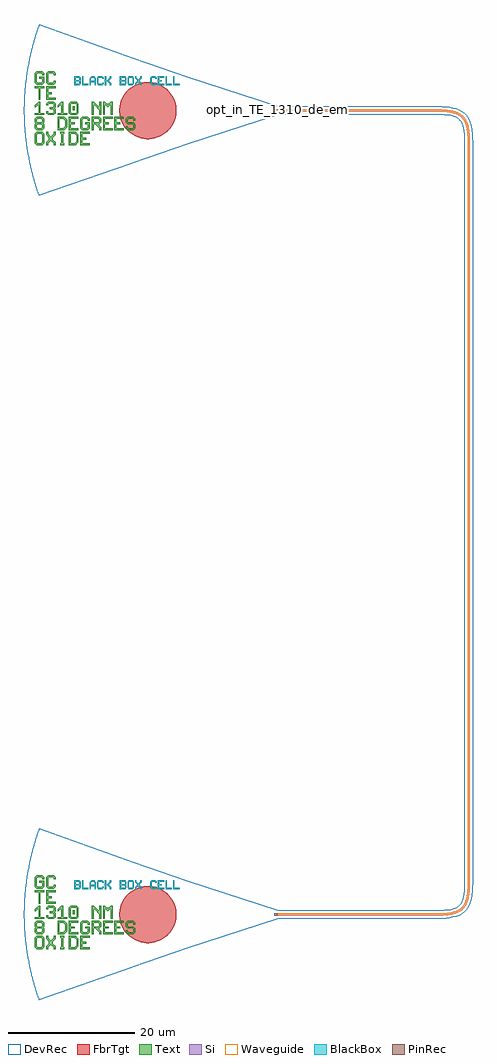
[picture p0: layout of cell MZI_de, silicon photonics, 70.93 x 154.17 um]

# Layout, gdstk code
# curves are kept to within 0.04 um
import gdstk
lib = gdstk.Library(unit=1e-6, precision=1e-09)
def R(c, l, rs):  # rectangles x0, y0, x1, y1
    for r in rs: c.add(gdstk.rectangle(r[:2], r[2:], *l))
def P(c, l, *ps):  # polygons
    for p in ps: c.add(gdstk.Polygon(p, *l))
Si = (1, 0)
PinRec = (1, 10)
Waveguide = (1, 99)
Text = (10, 0)
DevRec = (68, 0)
FbrTgt = (81, 0)
BlackBox = (998, 0)

text_1 = lib.new_cell('TEXT$1')
P(text_1, BlackBox, [(0,0),(0,1.4),(0.8,1.4),(1,1.2),(0.2,1.2),(0.2,0.8),(0.7,0.8),(0.8,0.9),(0.8,1.1),(0.7,1.2),(1,1.2),(1,0.8),(0.9,0.7),(1,0.6),(0.2,0.6),(0.2,0.2),(0.7,0.2),(0.8,0.3),(0.8,0.5),(0.7,0.6),(1,0.6),(1,0.2),(0.8,0)],
  [(1.2,0),(1.2,1.4),(1.4,1.4),(1.4,0.2),(2.2,0.2),(2.2,0)],
  [(2.4,0),(2.4,1.1),(2.7,1.4),(3.1,1.4),(3.3,1.2),(2.8,1.2),(2.6,1),(2.6,0.7),(3.2,0.7),(3.2,1),(3,1.2),(3.3,1.2),(3.4,1.1),(3.4,0),(3.2,0),(3.2,0.5),(2.6,0.5),(2.6,0)],
  [(3.8,0),(3.6,0.2),(3.6,1.2),(3.8,1.4),(4.4,1.4),(4.6,1.2),(4.6,1),(4.4,1),(4.4,1.1),(4.3,1.2),(3.9,1.2),(3.8,1.1),(3.8,0.3),(3.9,0.2),(4.3,0.2),(4.4,0.3),(4.4,0.4),(4.6,0.4),(4.6,0.2),(4.4,0)],
  [(4.8,0),(4.8,1.4),(5,1.4),(5,0.8),(5.2,0.8),(5.6,1.2),(5.6,1.4),(5.8,1.4),(5.8,1.1),(5.4,0.7),(5.8,0.3),(5.8,0),(5.6,0),(5.6,0.2),(5.2,0.6),(5,0.6),(5,0)],
  [(7.2,0),(7.2,1.4),(8,1.4),(8.2,1.2),(7.4,1.2),(7.4,0.8),(7.9,0.8),(8,0.9),(8,1.1),(7.9,1.2),(8.2,1.2),(8.2,0.8),(8.1,0.7),(8.2,0.6),(7.4,0.6),(7.4,0.2),(7.9,0.2),(8,0.3),(8,0.5),(7.9,0.6),(8.2,0.6),(8.2,0.2),(8,0)],
  [(8.6,0),(8.4,0.2),(8.4,1.2),(8.6,1.4),(9.2,1.4),(9.4,1.2),(9.4,0.7),(9.2,0.7),(9.2,1.1),(9.1,1.2),(8.7,1.2),(8.6,1.1),(8.6,0.3),(8.7,0.2),(9.1,0.2),(9.2,0.3),(9.2,0.7),(9.4,0.7),(9.4,0.2),(9.2,0)],
  [(9.6,0),(9.6,0.3),(9.9,0.6),(9.9,0.8),(9.6,1.1),(9.6,1.4),(9.8,1.4),(9.8,1.2),(10.1,0.9),(10.4,1.2),(10.4,1.4),(10.6,1.4),(10.6,1.1),(10.3,0.8),(10.3,0.6),(10.6,0.3),(10.6,0),(10.4,0),(10.4,0.2),(10.1,0.5),(9.8,0.2),(9.8,0)],
  [(12.2,0),(12,0.2),(12,1.2),(12.2,1.4),(12.8,1.4),(13,1.2),(13,1),(12.8,1),(12.8,1.1),(12.7,1.2),(12.3,1.2),(12.2,1.1),(12.2,0.3),(12.3,0.2),(12.7,0.2),(12.8,0.3),(12.8,0.4),(13,0.4),(13,0.2),(12.8,0)],
  [(13.2,0),(13.2,1.4),(14.2,1.4),(14.2,1.2),(13.4,1.2),(13.4,0.8),(13.8,0.8),(13.8,0.6),(13.4,0.6),(13.4,0.2),(14.2,0.2),(14.2,0)],
  [(14.4,0),(14.4,1.4),(14.6,1.4),(14.6,0.2),(15.4,0.2),(15.4,0)],
  [(15.6,0),(15.6,1.4),(15.8,1.4),(15.8,0.2),(16.6,0.2),(16.6,0)])

gc_te_1310_8degoxide_bb = lib.new_cell('GC_TE_1310_8degOxide_BB')
R(gc_te_1310_8degoxide_bb, Si, [(-0.4,-0.175,0,0.175)])
R(gc_te_1310_8degoxide_bb, Text, [(-32.27,0.06,-31.97,0.66)])
P(gc_te_1310_8degoxide_bb, Text, [(-37.67,1.71),(-37.67,3.51),(-38.27,3.51),(-38.27,3.81),(-36.77,3.81),(-36.77,3.51),(-37.37,3.51),(-37.37,1.71)],
  [(-37.97,-5.49),(-38.27,-5.19),(-38.27,-3.69),(-37.97,-3.39),(-37.07,-3.39),(-36.77,-3.69),(-36.77,-4.44),(-37.07,-4.44),(-37.07,-3.84),(-37.22,-3.69),(-37.82,-3.69),(-37.97,-3.84),(-37.97,-5.04),(-37.82,-5.19),(-37.22,-5.19),(-37.07,-5.04),(-37.07,-4.44),(-36.77,-4.44),(-36.77,-5.19),(-37.07,-5.49)],
  [(-31.07,-5.49),(-31.07,-3.39),(-29.57,-3.39),(-29.57,-3.69),(-30.77,-3.69),(-30.77,-4.29),(-30.17,-4.29),(-30.17,-4.59),(-30.77,-4.59),(-30.77,-5.19),(-29.57,-5.19),(-29.57,-5.49)],
  [(-32.87,-3.09),(-32.87,-0.99),(-31.37,-0.99),(-31.37,-1.29),(-32.57,-1.29),(-32.57,-1.89),(-31.97,-1.89),(-31.97,-2.19),(-32.57,-2.19),(-32.57,-2.79),(-31.37,-2.79),(-31.37,-3.09)],
  [(-27.47,-3.09),(-27.47,-0.99),(-25.97,-0.99),(-25.97,-1.29),(-27.17,-1.29),(-27.17,-1.89),(-26.57,-1.89),(-26.57,-2.19),(-27.17,-2.19),(-27.17,-2.79),(-25.97,-2.79),(-25.97,-3.09)],
  [(-25.67,-3.09),(-25.67,-0.99),(-24.17,-0.99),(-24.17,-1.29),(-25.37,-1.29),(-25.37,-1.89),(-24.77,-1.89),(-24.77,-2.19),(-25.37,-2.19),(-25.37,-2.79),(-24.17,-2.79),(-24.17,-3.09)],
  [(-36.47,1.71),(-36.47,3.81),(-34.97,3.81),(-34.97,3.51),(-36.17,3.51),(-36.17,2.91),(-35.57,2.91),(-35.57,2.61),(-36.17,2.61),(-36.17,2.01),(-34.97,2.01),(-34.97,1.71)],
  [(-27.47,-0.69),(-27.47,1.41),(-27.17,1.41),(-26.87,1.11),(-26.57,1.11),(-26.27,1.41),(-25.97,1.41),(-25.97,-0.69),(-26.27,-0.69),(-26.27,0.81),(-26.42,0.81),(-26.72,0.51),(-27.02,0.81),(-27.17,0.81),(-27.17,-0.69)],
  [(-29.27,-0.69),(-29.27,1.41),(-28.97,1.41),(-28.22,0.66),(-28.07,0.66),(-28.07,1.41),(-27.77,1.41),(-27.77,-0.69),(-28.07,-0.69),(-28.07,0.06),(-28.82,0.81),(-28.97,0.81),(-28.97,-0.69)],
  [(-34.22,-5.49),(-34.22,-5.19),(-34.07,-5.19),(-34.07,-3.69),(-34.22,-3.69),(-34.22,-3.39),(-33.62,-3.39),(-33.62,-3.69),(-33.77,-3.69),(-33.77,-5.19),(-33.62,-5.19),(-33.62,-5.49)],
  [(-36.17,-0.69),(-36.47,-0.39),(-36.47,-0.09),(-36.17,-0.09),(-36.17,-0.24),(-36.02,-0.39),(-35.42,-0.39),(-35.27,-0.24),(-35.27,0.06),(-35.42,0.21),(-35.87,0.21),(-35.87,0.51),(-35.42,0.51),(-35.27,0.66),(-35.27,0.96),(-35.42,1.11),(-36.02,1.11),(-36.17,0.96),(-36.17,0.81),(-36.47,0.81),(-36.47,1.11),(-36.17,1.41),(-35.27,1.41),(-34.97,1.11),(-34.97,0.51),(-35.12,0.36),(-34.97,0.21),(-34.97,-0.39),(-35.27,-0.69)],
  [(-29.27,-3.09),(-29.27,-0.99),(-28.07,-0.99),(-27.77,-1.29),(-28.97,-1.29),(-28.97,-1.89),(-28.22,-1.89),(-28.07,-1.74),(-28.07,-1.44),(-28.22,-1.29),(-27.77,-1.29),(-27.77,-1.89),(-28.07,-2.19),(-28.07,-2.34),(-27.77,-2.64),(-27.77,-3.09),(-28.07,-3.09),(-28.07,-2.79),(-28.67,-2.19),(-28.97,-2.19),(-28.97,-3.09)],
  [(-30.77,-3.09),(-31.07,-2.79),(-31.07,-1.29),(-30.77,-0.99),(-29.87,-0.99),(-29.57,-1.29),(-29.57,-1.59),(-29.87,-1.59),(-29.87,-1.44),(-30.02,-1.29),(-30.62,-1.29),(-30.77,-1.44),(-30.77,-2.64),(-30.62,-2.79),(-30.02,-2.79),(-29.87,-2.64),(-29.87,-2.19),(-30.32,-2.19),(-30.32,-1.89),(-29.57,-1.89),(-29.57,-2.79),(-29.87,-3.09)],
  [(-37.97,4.11),(-38.27,4.41),(-38.27,5.91),(-37.97,6.21),(-37.07,6.21),(-36.77,5.91),(-36.77,5.61),(-37.07,5.61),(-37.07,5.76),(-37.22,5.91),(-37.82,5.91),(-37.97,5.76),(-37.97,4.56),(-37.82,4.41),(-37.22,4.41),(-37.07,4.56),(-37.07,5.01),(-37.52,5.01),(-37.52,5.31),(-36.77,5.31),(-36.77,4.41),(-37.07,4.11)],
  [(-32.57,-0.69),(-32.87,-0.39),(-32.87,1.11),(-32.57,1.41),(-31.67,1.41),(-31.37,1.11),(-32.42,1.11),(-32.57,0.96),(-32.57,-0.24),(-32.42,-0.39),(-31.82,-0.39),(-31.67,-0.24),(-31.67,0.96),(-31.82,1.11),(-31.37,1.11),(-31.37,-0.39),(-31.67,-0.69)],
  [(-32.87,-5.49),(-32.87,-3.39),(-31.82,-3.39),(-31.52,-3.69),(-32.57,-3.69),(-32.57,-5.19),(-31.97,-5.19),(-31.67,-4.89),(-31.67,-3.99),(-31.97,-3.69),(-31.52,-3.69),(-31.37,-3.84),(-31.37,-5.04),(-31.82,-5.49)],
  [(-34.67,-3.09),(-34.67,-0.99),(-33.62,-0.99),(-33.32,-1.29),(-34.37,-1.29),(-34.37,-2.79),(-33.77,-2.79),(-33.47,-2.49),(-33.47,-1.59),(-33.77,-1.29),(-33.32,-1.29),(-33.17,-1.44),(-33.17,-2.64),(-33.62,-3.09)],
  [(-23.57,-3.09),(-23.87,-2.79),(-23.87,-2.49),(-23.57,-2.49),(-23.57,-2.64),(-23.42,-2.79),(-22.82,-2.79),(-22.67,-2.64),(-22.67,-2.34),(-22.82,-2.19),(-23.57,-2.19),(-23.87,-1.89),(-23.87,-1.29),(-23.57,-0.99),(-22.67,-0.99),(-22.37,-1.29),(-22.37,-1.59),(-22.67,-1.59),(-22.67,-1.44),(-22.82,-1.29),(-23.42,-1.29),(-23.57,-1.44),(-23.57,-1.74),(-23.42,-1.89),(-22.67,-1.89),(-22.37,-2.19),(-22.37,-2.79),(-22.67,-3.09)],
  [(-37.97,-3.09),(-38.27,-2.79),(-38.27,-2.19),(-38.12,-2.04),(-38.27,-1.89),(-38.27,-1.29),(-37.97,-0.99),(-37.07,-0.99),(-36.77,-1.29),(-37.82,-1.29),(-37.97,-1.44),(-37.97,-1.74),(-37.82,-1.89),(-37.22,-1.89),(-37.07,-1.74),(-37.07,-1.44),(-37.22,-1.29),(-36.77,-1.29),(-36.77,-1.89),(-36.92,-2.04),(-36.77,-2.19),(-37.82,-2.19),(-37.97,-2.34),(-37.97,-2.64),(-37.82,-2.79),(-37.22,-2.79),(-37.07,-2.64),(-37.07,-2.34),(-37.22,-2.19),(-36.77,-2.19),(-36.77,-2.79),(-37.07,-3.09)],
  [(-38.27,-0.69),(-38.27,-0.39),(-37.67,-0.39),(-37.67,0.81),(-37.82,0.81),(-38.12,0.51),(-38.27,0.51),(-38.27,0.81),(-37.67,1.41),(-37.37,1.41),(-37.37,-0.39),(-36.77,-0.39),(-36.77,-0.69)],
  [(-34.67,-0.69),(-34.67,-0.39),(-34.07,-0.39),(-34.07,0.81),(-34.22,0.81),(-34.52,0.51),(-34.67,0.51),(-34.67,0.81),(-34.07,1.41),(-33.77,1.41),(-33.77,-0.39),(-33.17,-0.39),(-33.17,-0.69)],
  [(-36.47,-5.49),(-36.47,-5.04),(-36.02,-4.59),(-36.02,-4.29),(-36.47,-3.84),(-36.47,-3.39),(-36.17,-3.39),(-36.17,-3.69),(-35.72,-4.14),(-35.27,-3.69),(-35.27,-3.39),(-34.97,-3.39),(-34.97,-3.84),(-35.42,-4.29),(-35.42,-4.59),(-34.97,-5.04),(-34.97,-5.49),(-35.27,-5.49),(-35.27,-5.19),(-35.72,-4.74),(-36.17,-5.19),(-36.17,-5.49)],
  [(-36.17,4.11),(-36.47,4.41),(-36.47,5.91),(-36.17,6.21),(-35.27,6.21),(-34.97,5.91),(-34.97,5.61),(-35.27,5.61),(-35.27,5.76),(-35.42,5.91),(-36.02,5.91),(-36.17,5.76),(-36.17,4.56),(-36.02,4.41),(-35.42,4.41),(-35.27,4.56),(-35.27,4.71),(-34.97,4.71),(-34.97,4.41),(-35.27,4.11)])
P(gc_te_1310_8degoxide_bb, DevRec, [(-37.607,-13.5),(-38.627,-10.245),(-39.378,-6.832),(-39.647,-5.058),(-39.835,-3.274),(-39.969,0.224),(-39.812,3.541),(-39.331,7.097),(-38.557,10.505),(-37.546,13.669),(-22.8,8.353),(-14.109,5.36),(0,0.75),(0,-0.75),(-14.109,-5.36)])
P(gc_te_1310_8degoxide_bb, FbrTgt, [(-20.621,-4.5),(-21.495,-4.37),(-22.326,-4.073),(-23.084,-3.619),(-23.738,-3.026),(-24.264,-2.316),(-24.642,-1.518),(-24.857,-0.661),(-24.9,0.221),(-24.77,1.095),(-24.473,1.926),(-24.019,2.684),(-23.426,3.338),(-22.716,3.864),(-21.918,4.242),(-21.061,4.457),(-20.179,4.5),(-19.305,4.37),(-18.474,4.073),(-17.716,3.619),(-17.062,3.026),(-16.536,2.316),(-16.158,1.518),(-15.943,0.661),(-15.9,-0.221),(-16.03,-1.095),(-16.327,-1.926),(-16.781,-2.684),(-17.374,-3.338),(-18.084,-3.864),(-18.882,-4.242),(-19.739,-4.457)])
gc_te_1310_8degoxide_bb.add(gdstk.FlexPath([(-0.01,0),(0.01,0)], 0.35, ends="flush", simple_path=True, layer=1, datatype=10))  # PinRec
gc_te_1310_8degoxide_bb.add(gdstk.Reference(text_1, (-32,4)))
gc_te_1310_8degoxide_bb.add(gdstk.Label('opt1', (0,0), layer=1, texttype=10))
gc_te_1310_8degoxide_bb.add(gdstk.Label('Lumerical_INTERCONNECT_library=Design kits/ebeam', (-29,-7), layer=68, texttype=0))
gc_te_1310_8degoxide_bb.add(gdstk.Label('Component=GC_TE_1310_8degOxide_BB', (-28,-5), layer=68, texttype=0))

waveguide = lib.new_cell('Waveguide')
P(waveguide, Si, [(470.55,24.41),(470.55,24.76),(495.84,24.76),(497.233,24.814),(498.474,25.028),(498.965,25.204),(499.468,25.495),(499.864,25.871),(500.116,26.246),(500.316,26.696),(500.468,27.228),(500.612,28.193),(500.665,29.585),(500.665,146.585),(500.611,147.978),(500.467,148.943),(500.315,149.475),(500.115,149.925),(499.863,150.3),(499.467,150.676),(498.964,150.967),(498.473,151.143),(497.232,151.357),(495.84,151.41),(470.55,151.41),(470.55,151.76),(496.061,151.759),(497.264,151.705),(498.273,151.555),(498.979,151.34),(499.57,151.032),(500.051,150.618),(500.356,150.207),(500.645,149.593),(500.809,149.019),(500.941,148.191),(501.01,147.021),(501.015,29.585),(500.976,28.348),(500.81,27.152),(500.646,26.578),(500.357,25.964),(500.052,25.553),(499.676,25.213),(499.23,24.942),(498.711,24.734),(498.118,24.584),(497.265,24.466),(495.84,24.41)])
P(waveguide, Waveguide, [(470.55,24.41),(470.55,24.76),(495.84,24.76),(497.233,24.814),(498.474,25.028),(498.965,25.204),(499.468,25.495),(499.864,25.871),(500.116,26.246),(500.316,26.696),(500.468,27.228),(500.612,28.193),(500.665,29.585),(500.665,146.585),(500.611,147.978),(500.467,148.943),(500.315,149.475),(500.115,149.925),(499.863,150.3),(499.467,150.676),(498.964,150.967),(498.473,151.143),(497.232,151.357),(495.84,151.41),(470.55,151.41),(470.55,151.76),(496.061,151.759),(497.264,151.705),(498.273,151.555),(498.979,151.34),(499.57,151.032),(500.051,150.618),(500.356,150.207),(500.645,149.593),(500.809,149.019),(500.941,148.191),(501.01,147.021),(501.015,29.585),(500.976,28.348),(500.81,27.152),(500.646,26.578),(500.357,25.964),(500.052,25.553),(499.676,25.213),(499.23,24.942),(498.711,24.734),(498.118,24.584),(497.265,24.466),(495.84,24.41)])
P(waveguide, DevRec, [(470.55,23.91),(470.55,25.26),(495.84,25.26),(497.596,25.359),(498.439,25.54),(498.767,25.663),(499.265,25.971),(499.455,26.161),(499.763,26.659),(499.988,27.377),(500.123,28.349),(500.165,29.585),(500.165,146.585),(500.122,147.822),(499.987,148.794),(499.885,149.184),(499.618,149.783),(499.454,150.01),(499.037,150.364),(498.438,150.631),(498.048,150.733),(497.076,150.868),(495.84,150.91),(470.55,150.91),(470.55,152.26),(495.84,152.26),(497.184,152.214),(498.334,152.053),(499.318,151.74),(499.751,151.51),(500.14,151.226),(500.764,150.497),(500.994,150.064),(501.307,149.08),(501.504,147.285),(501.515,29.585),(501.469,28.241),(501.308,27.091),(500.995,26.107),(500.765,25.674),(500.141,24.945),(499.752,24.661),(498.845,24.252),(498.335,24.118),(497.185,23.957),(495.84,23.91)])
waveguide.add(gdstk.FlexPath([(470.56,151.585),(470.54,151.585)], 0.35, ends="flush", simple_path=True, layer=1, datatype=10))  # PinRec
waveguide.add(gdstk.FlexPath([(470.56,24.585),(470.54,24.585)], 0.35, ends="flush", simple_path=True, layer=1, datatype=10))  # PinRec
waveguide.add(gdstk.Label('opt1', (470.55,151.585), layer=1, texttype=10))
waveguide.add(gdstk.Label('opt2', (470.55,24.585), layer=1, texttype=10))
waveguide.add(gdstk.Label('Lumerical_INTERCONNECT_library=Design kits/EBeam', (470.55,151.515), layer=68, texttype=0))
waveguide.add(gdstk.Label('Component=ebeam_wg_integral_1310', (470.55,151.655), layer=68, texttype=0))
waveguide.add(gdstk.Label('cellName=Waveguide', (470.55,151.725), layer=68, texttype=0))
waveguide.add(gdstk.Label('Spice_param:wg_length=0.000184487 wg_width=3.5e-07 points="[[470.55,151.585],[500.84,151.585],[500.84,24.585],[470.55,24.585]]" radius=5e-06', (470.55,151.585), layer=68, texttype=0))
waveguide.add(gdstk.Label('Length=184.487 (microns)', (470.55,151.165), layer=68, texttype=0))
waveguide.add(gdstk.Label('waveguide_type=Strip TE 1310 nm, w=350 nm', (470.55,151.445), layer=68, texttype=0))

mzi_de = lib.new_cell('MZI_de')
r = gdstk.Reference(gc_te_1310_8degoxide_bb, (470.55,24.585)); r.repetition = gdstk.Repetition(1, 2, v1=(0,0), v2=(0,127)); mzi_de.add(r)
mzi_de.add(gdstk.Reference(waveguide, (0,0)))
mzi_de.add(gdstk.Label('opt_in_TE_1310_de_em', (470.55,151.779), layer=10, texttype=0))

lib.write_gds('MZI_de.gds')
